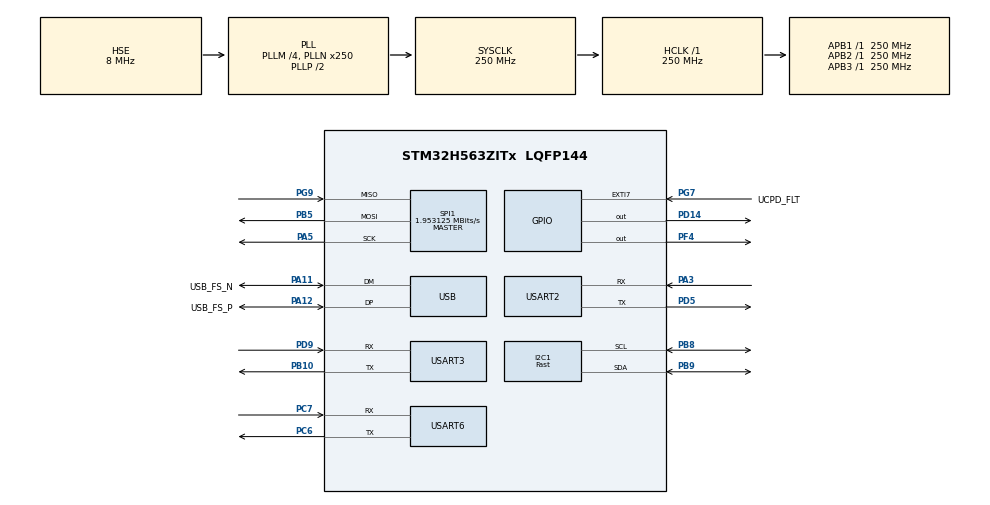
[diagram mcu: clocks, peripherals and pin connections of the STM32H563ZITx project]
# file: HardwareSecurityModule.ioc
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BOOTPATH.BootPathName=LEGACY
BOOTPATH.UserSelectedBootPath=LEGACY
CORTEX_M33_NS.userName=CORTEX_M33
HASH.Algorithm=HASH_ALGOSELECTION_SHA256
HASH.DataType=HASH_BYTE_SWAP
HASH.HASHMAC=Yes
HASH.KeySize=1
I2C1.I2C_Speed_Mode=I2C_Fast
I2C1.Timing=0x10C043E5
Mcu.Family=STM32H5
Mcu.Name=STM32H563ZITx
Mcu.Package=LQFP144
NUCLEO-H563ZI.BUTTON=1
NUCLEO-H563ZI.LD1=true
NUCLEO-H563ZI.LD2=true
NUCLEO-H563ZI.LD3=true
NUCLEO-H563ZI.VCP=true
NVIC.EXTI13_IRQn=true\:0\:0\:false\:false\:true\:false\:true\:true
NVIC.HASH_IRQn=true\:0\:0\:false\:false\:true\:true\:true\:true
NVIC.PriorityGroup=NVIC_PRIORITYGROUP_4
NVIC.USB_DRD_FS_IRQn=true\:0\:0\:false\:false\:true\:true\:true\:true
PA1.Signal=TAMP_IN5
PA11.GPIO_Label=USB_FS_N
PA11.Mode=Device
PA11.Signal=USB_DM
PA12.GPIO_Label=USB_FS_P
PA12.Mode=Device
PA12.Signal=USB_DP
PA13(JTMS/SWDIO).GPIO_Label=SWDIO
PA13(JTMS/SWDIO).Signal=DEBUG_JTMS-SWDIO
PA14(JTCK/SWCLK).GPIO_Label=SWCLK
PA14(JTCK/SWCLK).Signal=DEBUG_JTCK-SWCLK
PA15(JTDI).GPIO_Label=T_JTDI
PA15(JTDI).Signal=DEBUG_JTDI
PA2.GPIO_Label=RMII_MDIO
PA2.GPIO_Mode=GPIO_MODE_AF_PP
PA2.GPIO_PuPd=GPIO_NOPULL
PA2.GPIO_Speed=GPIO_SPEED_FREQ_LOW
PA2.Signal=ETH_MDIO
PA3.Mode=Asynchronous
PA3.Signal=USART2_RX
PA4.GPIO_Label=VBUS_SENSE
PA4.Signal=ADCx_INP18
PA5.Mode=Full_Duplex_Master
PA5.Signal=SPI1_SCK
PA7.GPIO_Label=RMII_CRS_DV
PA7.GPIO_Mode=GPIO_MODE_AF_PP
PA7.GPIO_PuPd=GPIO_NOPULL
PA7.GPIO_Speed=GPIO_SPEED_FREQ_LOW
PA7.Signal=ETH_CRS_DV
PA9.GPIO_Label=UCDP_DBn
PA9.Signal=UCPD1_DB1
PB10.Mode=Asynchronous
PB10.Signal=USART3_TX
PB13.GPIO_Label=UCPD_CC1
PB13.Signal=UCPD1_CC1
PB14.GPIO_Label=UCPD_CC2
PB14.Signal=UCPD1_CC2
PB15.GPIO_Label=RMII_TXD1
PB15.GPIO_Mode=GPIO_MODE_AF_PP
PB15.GPIO_PuPd=GPIO_NOPULL
PB15.GPIO_Speed=GPIO_SPEED_FREQ_LOW
PB15.Signal=ETH_TXD1
PB3(JTDO/TRACESWO).GPIO_Label=SWO
PB3(JTDO/TRACESWO).Signal=DEBUG_JTDO-SWO
PB5.Mode=Full_Duplex_Master
PB5.Signal=SPI1_MOSI
PB6.GPIO_Label=ARD_D1_TX
PB6.Signal=LPUART1_TX
PB7.GPIO_Label=ARD_D0_RX
PB7.Signal=LPUART1_RX
PB8.Mode=I2C
PB8.Signal=I2C1_SCL
PB9.Mode=I2C
PB9.Signal=I2C1_SDA
PC1.GPIO_Label=RMII_MDC
PC1.GPIO_Mode=GPIO_MODE_AF_PP
PC1.GPIO_PuPd=GPIO_NOPULL
PC1.GPIO_Speed=GPIO_SPEED_FREQ_LOW
PC1.Signal=ETH_MDC
PC14-OSC32_IN(OSC32_IN).Mode=LSE-External-Oscillator
PC14-OSC32_IN(OSC32_IN).Signal=RCC_OSC32_IN
PC15-OSC32_OUT(OSC32_OUT).Mode=LSE-External-Oscillator
PC15-OSC32_OUT(OSC32_OUT).Signal=RCC_OSC32_OUT
PC4.GPIO_Label=RMII_RXD0
PC4.GPIO_Mode=GPIO_MODE_AF_PP
PC4.GPIO_PuPd=GPIO_NOPULL
PC4.GPIO_Speed=GPIO_SPEED_FREQ_LOW
PC4.Signal=ETH_RXD0
PC5.GPIO_Label=RMII_RXD1
PC5.GPIO_Mode=GPIO_MODE_AF_PP
PC5.GPIO_PuPd=GPIO_NOPULL
PC5.GPIO_Speed=GPIO_SPEED_FREQ_LOW
PC5.Signal=ETH_RXD1
PC6.Mode=Asynchronous
PC6.Signal=USART6_TX
PC7.Mode=Asynchronous
PC7.Signal=USART6_RX
PD14.Signal=GPIO_Output
PD5.Mode=Asynchronous
PD5.Signal=USART2_TX
PD9.Mode=Asynchronous
PD9.Signal=USART3_RX
PE2.GPIO_Label=TRACE_CK
PE2.Signal=DEBUG_TRACECLK
PE3.GPIO_Label=TRACE_D0
PE3.Signal=DEBUG_TRACED0
PE4.GPIO_Label=TRACE_D1
PE4.Signal=DEBUG_TRACED1
PE5.GPIO_Label=TRACE_D2
PE5.Signal=DEBUG_TRACED2
PE6.GPIO_Label=TRACE_D3
PE6.Signal=DEBUG_TRACED3
PF4.Signal=GPIO_Output
PG11.GPIO_Label=RMII_TXT_EN
PG11.GPIO_Mode=GPIO_MODE_AF_PP
PG11.GPIO_PuPd=GPIO_NOPULL
PG11.GPIO_Speed=GPIO_SPEED_FREQ_LOW
PG11.Signal=ETH_TX_EN
PG13.GPIO_Label=RMI_TXD0
PG13.GPIO_Mode=GPIO_MODE_AF_PP
PG13.GPIO_PuPd=GPIO_NOPULL
PG13.GPIO_Speed=GPIO_SPEED_FREQ_LOW
PG13.Signal=ETH_TXD0
PG7.GPIO_Label=UCPD_FLT
PG7.Signal=GPXTI7
PG9.Mode=Full_Duplex_Master
PG9.Signal=SPI1_MISO
PH0-OSC_IN(PH0).GPIO_Label=STLK_MCO
PH0-OSC_IN(PH0).Mode=HSE-External-Clock-Source
PH0-OSC_IN(PH0).Signal=RCC_OSC_IN
ProjectManager.HeapSize=0x300
ProjectManager.StackSize=0x500
ProjectManager.TargetToolchain=STM32CubeIDE
RCC.ADCFreq_Value=250000000
RCC.AHBFreq_Value=250000000
RCC.APB1Freq_Value=250000000
RCC.APB1TimFreq_Value=250000000
RCC.APB2Freq_Value=250000000
RCC.APB2TimFreq_Value=250000000
RCC.APB3Freq_Value=250000000
RCC.CSI_VALUE=4000000
RCC.CortexFreq_Value=250000000
RCC.EPOD_VALUE=8000000
RCC.HCLKFreq_Value=250000000
RCC.HSE_VALUE=8000000
RCC.HSI48_VALUE=48000000
RCC.HSIDiv=RCC_HSI_DIV1
RCC.HSI_VALUE=64000000
RCC.LSIRC_VALUE=32000
RCC.PLLM=4
RCC.PLLN=250
RCC.PLLSourceVirtual=RCC_PLL1_SOURCE_HSE
RCC.SYSCLKFreq_VALUE=250000000
RCC.SYSCLKSource=RCC_SYSCLKSOURCE_PLLCLK
RCC.USBFreq_Value=48000000
RCC.VCOOutputFreq_Value=500000000
SH.ADCx_INP18.0=ADC1_INP18
SPI1.BaudRatePrescaler=SPI_BAUDRATEPRESCALER_128
SPI1.CalculateBaudRate=1.953125 MBits/s
SPI1.DataSize=SPI_DATASIZE_8BIT
SPI1.Direction=SPI_DIRECTION_2LINES
SPI1.Mode=SPI_MODE_MASTER
SPI1.VirtualType=VM_MASTER
USART2.VirtualMode-Asynchronous=VM_ASYNC
USART6.VirtualMode-Asynchronous=VM_ASYNC
USB.VirtualMode=Device_Only
VP_BOOTPATH_VS_BOOTPATH.Mode=BP_Activate
VP_CORTEX_M33_NS_VS_Hclk.Mode=Hclk_Mode
VP_FLASH_SIG_Activate_FlashIP.Mode=Activate_FlashIP
VP_HASH_VS_HASH.Mode=HASH_Activate
VP_MEMORYMAP_VS_MEMORYMAP.Mode=CurAppReg
VP_NUCLEO-H563ZI_VS_BSP_COMMON.Mode=COMMON
VP_PWR_VS_DBSignals.Mode=DisableDeadBatterySignals
VP_PWR_VS_LPOM.Mode=PowerOptimisation
VP_PWR_VS_SECSignals.Mode=Security/Privilege
VP_RNG_VS_RNG.Mode=RNG_Activate
VP_RTC_VS_RTC_Activate.Mode=RTC_Enabled
VP_RTC_VS_RTC_Calendar.Mode=RTC_Calendar
board=NUCLEO-H563ZI

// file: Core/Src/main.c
/* USER CODE BEGIN Header */
/**
  ******************************************************************************
  * @file           : main.c
  * @brief          : Main program body
  ******************************************************************************
  * @attention
  *
  * Copyright (c) 2025 STMicroelectronics.
  * All rights reserved.
  *
  * This software is licensed under terms that can be found in the LICENSE file
  * in the root directory of this software component.
  * If no LICENSE file comes with this software, it is provided AS-IS.
  *
  ******************************************************************************
  */
/* USER CODE END Header */
#include "main.h"

/* USER CODE BEGIN Includes */
#include "usbd_core.h"
#include "usbd_cdc_if.h"

#include "stdbool.h"

#include "HSMManager.h"
#include "Logger.h"
/* USER CODE END Includes */

COM_InitTypeDef BspCOMInit;

HASH_HandleTypeDef hhash;
__ALIGN_BEGIN static const uint8_t pKeyHASH[1] __ALIGN_END = { 0x00 };

I2C_HandleTypeDef hi2c1;

RNG_HandleTypeDef hrng;

RTC_HandleTypeDef hrtc;

SPI_HandleTypeDef hspi1;

UART_HandleTypeDef huart2;
UART_HandleTypeDef huart6;

PCD_HandleTypeDef hpcd_USB_DRD_FS;

/* USER CODE BEGIN PV */
USBD_HandleTypeDef hUsbDeviceFS;
extern USBD_DescriptorsTypeDef Class_Desc;

/* USER CODE END PV */

void SystemClock_Config(void);
static void MX_GPIO_Init(void);
static void MX_USB_PCD_Init(void);
static void MX_USART2_UART_Init(void);
static void MX_I2C1_Init(void);
static void MX_SPI1_Init(void);
static void MX_USART6_UART_Init(void);
static void MX_RTC_Init(void);
static void MX_RNG_Init(void);
static void MX_HASH_Init(void);
static void MX_FLASH_Init(void);

int main(void)
{

  /* MCU Configuration--------------------------------------------------------*/

  /* Reset of all peripherals, Initializes the Flash interface and the Systick. */
  HAL_Init();

  /* Configure the system clock */
  SystemClock_Config();

  /* Initialize all configured peripherals */
  MX_GPIO_Init();
  MX_USB_PCD_Init();
  MX_USART2_UART_Init();
  MX_I2C1_Init();
  MX_SPI1_Init();
  MX_USART6_UART_Init();
  MX_RTC_Init();
  MX_RNG_Init();
  MX_HASH_Init();
  MX_FLASH_Init();
  /* USER CODE BEGIN 2 */
  while(hUsbDeviceFS.pClassData == NULL);
  /* USER CODE END 2 */

  /* Initialize leds */
  BSP_LED_Init(LED_GREEN);
  BSP_LED_Init(LED_YELLOW);
  BSP_LED_Init(LED_RED);

  /* Initialize USER push-button, will be used to trigger an interrupt each time it's pressed.*/
  BSP_PB_Init(BUTTON_USER, BUTTON_MODE_EXTI);

  /* Initialize COM1 port (115200, 8 bits (7-bit data + 1 stop bit), no parity */
  BspCOMInit.BaudRate   = 115200;
  BspCOMInit.WordLength = COM_WORDLENGTH_8B;
  BspCOMInit.StopBits   = COM_STOPBITS_1;
  BspCOMInit.Parity     = COM_PARITY_NONE;
  BspCOMInit.HwFlowCtl  = COM_HWCONTROL_NONE;
  if (BSP_COM_Init(COM1, &BspCOMInit) != BSP_ERROR_NONE)
  {
    Error_Handler();
  }

  /* Infinite loop */
  /* USER CODE BEGIN WHILE */
  HSMManager_Init();

  HSMManager_ProcessCommand();

  while (1)
  {
    /* USER CODE END WHILE */

  }
}

void SystemClock_Config(void)
{
  RCC_OscInitTypeDef RCC_OscInitStruct = {0};
  RCC_ClkInitTypeDef RCC_ClkInitStruct = {0};

  /** Configure the main internal regulator output voltage
  */
  __HAL_PWR_VOLTAGESCALING_CONFIG(PWR_REGULATOR_VOLTAGE_SCALE0);

  while(!__HAL_PWR_GET_FLAG(PWR_FLAG_VOSRDY)) {}

  /** Initializes the RCC Oscillators according to the specified parameters
  * in the RCC_OscInitTypeDef structure.
  */
  RCC_OscInitStruct.OscillatorType = RCC_OSCILLATORTYPE_HSI48|RCC_OSCILLATORTYPE_LSI
                              |RCC_OSCILLATORTYPE_HSE;
  RCC_OscInitStruct.HSEState = RCC_HSE_BYPASS;
  RCC_OscInitStruct.LSIState = RCC_LSI_ON;
  RCC_OscInitStruct.HSI48State = RCC_HSI48_ON;
  RCC_OscInitStruct.PLL.PLLState = RCC_PLL_ON;
  RCC_OscInitStruct.PLL.PLLSource = RCC_PLL1_SOURCE_HSE;
  RCC_OscInitStruct.PLL.PLLM = 4;
  RCC_OscInitStruct.PLL.PLLN = 250;
  RCC_OscInitStruct.PLL.PLLP = 2;
  RCC_OscInitStruct.PLL.PLLQ = 2;
  RCC_OscInitStruct.PLL.PLLR = 2;
  RCC_OscInitStruct.PLL.PLLRGE = RCC_PLL1_VCIRANGE_1;
  RCC_OscInitStruct.PLL.PLLVCOSEL = RCC_PLL1_VCORANGE_WIDE;
  RCC_OscInitStruct.PLL.PLLFRACN = 0;
  if (HAL_RCC_OscConfig(&RCC_OscInitStruct) != HAL_OK)
  {
    Error_Handler();
  }

  /** Initializes the CPU, AHB and APB buses clocks
  */
  RCC_ClkInitStruct.ClockType = RCC_CLOCKTYPE_HCLK|RCC_CLOCKTYPE_SYSCLK
                              |RCC_CLOCKTYPE_PCLK1|RCC_CLOCKTYPE_PCLK2
                              |RCC_CLOCKTYPE_PCLK3;
  RCC_ClkInitStruct.SYSCLKSource = RCC_SYSCLKSOURCE_PLLCLK;
  RCC_ClkInitStruct.AHBCLKDivider = RCC_SYSCLK_DIV1;
  RCC_ClkInitStruct.APB1CLKDivider = RCC_HCLK_DIV1;
  RCC_ClkInitStruct.APB2CLKDivider = RCC_HCLK_DIV1;
  RCC_ClkInitStruct.APB3CLKDivider = RCC_HCLK_DIV1;

  if (HAL_RCC_ClockConfig(&RCC_ClkInitStruct, FLASH_LATENCY_5) != HAL_OK)
  {
    Error_Handler();
  }

  /** Configure the programming delay
  */
  __HAL_FLASH_SET_PROGRAM_DELAY(FLASH_PROGRAMMING_DELAY_2);
}

static void MX_FLASH_Init(void)
{

  if (HAL_FLASH_Unlock() != HAL_OK)
  {
    Error_Handler();
  }
  if (HAL_FLASH_Lock() != HAL_OK)
  {
    Error_Handler();
  }

}

static void MX_HASH_Init(void)
{

  hhash.Instance = HASH;
  hhash.Init.DataType = HASH_BYTE_SWAP;
  hhash.Init.KeySize = 1;
  hhash.Init.pKey = (uint8_t *)pKeyHASH;
  hhash.Init.Algorithm = HASH_ALGOSELECTION_SHA256;
  if (HAL_HASH_Init(&hhash) != HAL_OK)
  {
    Error_Handler();
  }

}

static void MX_I2C1_Init(void)
{

  hi2c1.Instance = I2C1;
  hi2c1.Init.Timing = 0x10C043E5;
  hi2c1.Init.OwnAddress1 = 0;
  hi2c1.Init.AddressingMode = I2C_ADDRESSINGMODE_7BIT;
  hi2c1.Init.DualAddressMode = I2C_DUALADDRESS_DISABLE;
  hi2c1.Init.OwnAddress2 = 0;
  hi2c1.Init.OwnAddress2Masks = I2C_OA2_NOMASK;
  hi2c1.Init.GeneralCallMode = I2C_GENERALCALL_DISABLE;
  hi2c1.Init.NoStretchMode = I2C_NOSTRETCH_DISABLE;
  if (HAL_I2C_Init(&hi2c1) != HAL_OK)
  {
    Error_Handler();
  }

  /** Configure Analogue filter
  */
  if (HAL_I2CEx_ConfigAnalogFilter(&hi2c1, I2C_ANALOGFILTER_ENABLE) != HAL_OK)
  {
    Error_Handler();
  }

  /** Configure Digital filter
  */
  if (HAL_I2CEx_ConfigDigitalFilter(&hi2c1, 0) != HAL_OK)
  {
    Error_Handler();
  }

}

static void MX_RNG_Init(void)
{

  hrng.Instance = RNG;
  hrng.Init.ClockErrorDetection = RNG_CED_ENABLE;
  if (HAL_RNG_Init(&hrng) != HAL_OK)
  {
    Error_Handler();
  }

}

static void MX_RTC_Init(void)
{

  RTC_PrivilegeStateTypeDef privilegeState = {0};
  RTC_TimeTypeDef sTime = {0};
  RTC_DateTypeDef sDate = {0};

  /** Initialize RTC Only
  */
  hrtc.Instance = RTC;
  hrtc.Init.HourFormat = RTC_HOURFORMAT_24;
  hrtc.Init.AsynchPrediv = 127;
  hrtc.Init.SynchPrediv = 255;
  hrtc.Init.OutPut = RTC_OUTPUT_DISABLE;
  hrtc.Init.OutPutRemap = RTC_OUTPUT_REMAP_NONE;
  hrtc.Init.OutPutPolarity = RTC_OUTPUT_POLARITY_HIGH;
  hrtc.Init.OutPutType = RTC_OUTPUT_TYPE_OPENDRAIN;
  hrtc.Init.OutPutPullUp = RTC_OUTPUT_PULLUP_NONE;
  hrtc.Init.BinMode = RTC_BINARY_NONE;
  if (HAL_RTC_Init(&hrtc) != HAL_OK)
  {
    Error_Handler();
  }
  privilegeState.rtcPrivilegeFull = RTC_PRIVILEGE_FULL_NO;
  privilegeState.backupRegisterPrivZone = RTC_PRIVILEGE_BKUP_ZONE_NONE;
  privilegeState.backupRegisterStartZone2 = RTC_BKP_DR0;
  privilegeState.backupRegisterStartZone3 = RTC_BKP_DR0;
  if (HAL_RTCEx_PrivilegeModeSet(&hrtc, &privilegeState) != HAL_OK)
  {
    Error_Handler();
  }

  /** Initialize RTC and set the Time and Date
  */
  sTime.Hours = 0x0;
  sTime.Minutes = 0x0;
  sTime.Seconds = 0x0;
  sTime.DayLightSaving = RTC_DAYLIGHTSAVING_NONE;
  sTime.StoreOperation = RTC_STOREOPERATION_RESET;
  if (HAL_RTC_SetTime(&hrtc, &sTime, RTC_FORMAT_BCD) != HAL_OK)
  {
    Error_Handler();
  }
  sDate.WeekDay = RTC_WEEKDAY_MONDAY;
  sDate.Month = RTC_MONTH_JANUARY;
  sDate.Date = 0x1;
  sDate.Year = 0x0;

  if (HAL_RTC_SetDate(&hrtc, &sDate, RTC_FORMAT_BCD) != HAL_OK)
  {
    Error_Handler();
  }

}

static void MX_SPI1_Init(void)
{

  /* SPI1 parameter configuration*/
  hspi1.Instance = SPI1;
  hspi1.Init.Mode = SPI_MODE_MASTER;
  hspi1.Init.Direction = SPI_DIRECTION_2LINES;
  hspi1.Init.DataSize = SPI_DATASIZE_8BIT;
  hspi1.Init.CLKPolarity = SPI_POLARITY_LOW;
  hspi1.Init.CLKPhase = SPI_PHASE_1EDGE;
  hspi1.Init.NSS = SPI_NSS_SOFT;
  hspi1.Init.BaudRatePrescaler = SPI_BAUDRATEPRESCALER_128;
  hspi1.Init.FirstBit = SPI_FIRSTBIT_MSB;
  hspi1.Init.TIMode = SPI_TIMODE_DISABLE;
  hspi1.Init.CRCCalculation = SPI_CRCCALCULATION_DISABLE;
  hspi1.Init.CRCPolynomial = 0x7;
  hspi1.Init.NSSPMode = SPI_NSS_PULSE_ENABLE;
  hspi1.Init.NSSPolarity = SPI_NSS_POLARITY_LOW;
  hspi1.Init.FifoThreshold = SPI_FIFO_THRESHOLD_01DATA;
  hspi1.Init.MasterSSIdleness = SPI_MASTER_SS_IDLENESS_00CYCLE;
  hspi1.Init.MasterInterDataIdleness = SPI_MASTER_INTERDATA_IDLENESS_00CYCLE;
  hspi1.Init.MasterReceiverAutoSusp = SPI_MASTER_RX_AUTOSUSP_DISABLE;
  hspi1.Init.MasterKeepIOState = SPI_MASTER_KEEP_IO_STATE_DISABLE;
  hspi1.Init.IOSwap = SPI_IO_SWAP_DISABLE;
  hspi1.Init.ReadyMasterManagement = SPI_RDY_MASTER_MANAGEMENT_INTERNALLY;
  hspi1.Init.ReadyPolarity = SPI_RDY_POLARITY_HIGH;
  if (HAL_SPI_Init(&hspi1) != HAL_OK)
  {
    Error_Handler();
  }

}

static void MX_USART2_UART_Init(void)
{

  huart2.Instance = USART2;
  huart2.Init.BaudRate = 115200;
  huart2.Init.WordLength = UART_WORDLENGTH_8B;
  huart2.Init.StopBits = UART_STOPBITS_1;
  huart2.Init.Parity = UART_PARITY_NONE;
  huart2.Init.Mode = UART_MODE_TX_RX;
  huart2.Init.HwFlowCtl = UART_HWCONTROL_NONE;
  huart2.Init.OverSampling = UART_OVERSAMPLING_16;
  huart2.Init.OneBitSampling = UART_ONE_BIT_SAMPLE_DISABLE;
  huart2.Init.ClockPrescaler = UART_PRESCALER_DIV1;
  huart2.AdvancedInit.AdvFeatureInit = UART_ADVFEATURE_NO_INIT;
  if (HAL_UART_Init(&huart2) != HAL_OK)
  {
    Error_Handler();
  }
  if (HAL_UARTEx_SetTxFifoThreshold(&huart2, UART_TXFIFO_THRESHOLD_1_8) != HAL_OK)
  {
    Error_Handler();
  }
  if (HAL_UARTEx_SetRxFifoThreshold(&huart2, UART_RXFIFO_THRESHOLD_1_8) != HAL_OK)
  {
    Error_Handler();
  }
  if (HAL_UARTEx_DisableFifoMode(&huart2) != HAL_OK)
  {
    Error_Handler();
  }

}

static void MX_USART6_UART_Init(void)
{

  huart6.Instance = USART6;
  huart6.Init.BaudRate = 115200;
  huart6.Init.WordLength = UART_WORDLENGTH_8B;
  huart6.Init.StopBits = UART_STOPBITS_1;
  huart6.Init.Parity = UART_PARITY_NONE;
  huart6.Init.Mode = UART_MODE_TX_RX;
  huart6.Init.HwFlowCtl = UART_HWCONTROL_NONE;
  huart6.Init.OverSampling = UART_OVERSAMPLING_16;
  huart6.Init.OneBitSampling = UART_ONE_BIT_SAMPLE_DISABLE;
  huart6.Init.ClockPrescaler = UART_PRESCALER_DIV1;
  huart6.AdvancedInit.AdvFeatureInit = UART_ADVFEATURE_NO_INIT;
  if (HAL_UART_Init(&huart6) != HAL_OK)
  {
    Error_Handler();
  }
  if (HAL_UARTEx_SetTxFifoThreshold(&huart6, UART_TXFIFO_THRESHOLD_1_8) != HAL_OK)
  {
    Error_Handler();
  }
  if (HAL_UARTEx_SetRxFifoThreshold(&huart6, UART_RXFIFO_THRESHOLD_1_8) != HAL_OK)
  {
    Error_Handler();
  }
  if (HAL_UARTEx_DisableFifoMode(&huart6) != HAL_OK)
  {
    Error_Handler();
  }

}

static void MX_USB_PCD_Init(void)
{

  /* USER CODE BEGIN USB_Init 0 */
  hpcd_USB_DRD_FS.pData = &hUsbDeviceFS;
  /* USER CODE END USB_Init 0 */

  hpcd_USB_DRD_FS.Instance = USB_DRD_FS;
  hpcd_USB_DRD_FS.Init.dev_endpoints = 8;
  hpcd_USB_DRD_FS.Init.speed = USBD_FS_SPEED;
  hpcd_USB_DRD_FS.Init.phy_itface = PCD_PHY_EMBEDDED;
  hpcd_USB_DRD_FS.Init.Sof_enable = DISABLE;
  hpcd_USB_DRD_FS.Init.low_power_enable = DISABLE;
  hpcd_USB_DRD_FS.Init.lpm_enable = DISABLE;
  hpcd_USB_DRD_FS.Init.battery_charging_enable = DISABLE;
  hpcd_USB_DRD_FS.Init.vbus_sensing_enable = DISABLE;
  hpcd_USB_DRD_FS.Init.bulk_doublebuffer_enable = DISABLE;
  hpcd_USB_DRD_FS.Init.iso_singlebuffer_enable = DISABLE;
  if (HAL_PCD_Init(&hpcd_USB_DRD_FS) != HAL_OK)
  {
    Error_Handler();
  }
  /* USER CODE BEGIN USB_Init 2 */
  if(USBD_Init(&hUsbDeviceFS, &Class_Desc, 0) != USBD_OK)
        Error_Handler();

  if (USBD_RegisterClass(&hUsbDeviceFS, &USBD_CDC) != USBD_OK)
        Error_Handler();

  if(USBD_CDC_RegisterInterface(&hUsbDeviceFS, &USBD_CDC_Template_fops) != USBD_OK)
        Error_Handler();

  if(USBD_Start(&hUsbDeviceFS) != USBD_OK)
        Error_Handler();
  /* USER CODE END USB_Init 2 */

}

static void MX_GPIO_Init(void)
{
  GPIO_InitTypeDef GPIO_InitStruct = {0};

  /* GPIO Ports Clock Enable */
  __HAL_RCC_GPIOE_CLK_ENABLE();
  __HAL_RCC_GPIOC_CLK_ENABLE();
  __HAL_RCC_GPIOH_CLK_ENABLE();
  __HAL_RCC_GPIOA_CLK_ENABLE();
  __HAL_RCC_GPIOB_CLK_ENABLE();
  __HAL_RCC_GPIOD_CLK_ENABLE();
  __HAL_RCC_GPIOG_CLK_ENABLE();

  /*Configure GPIO pin Output Level */
  HAL_GPIO_WritePin(GPIOD, GPIO_PIN_14, GPIO_PIN_RESET);

  /*Configure GPIO pins : RMII_MDC_Pin RMII_RXD0_Pin RMII_RXD1_Pin */
  GPIO_InitStruct.Pin = RMII_MDC_Pin|RMII_RXD0_Pin|RMII_RXD1_Pin;
  GPIO_InitStruct.Mode = GPIO_MODE_AF_PP;
  GPIO_InitStruct.Pull = GPIO_NOPULL;
  GPIO_InitStruct.Speed = GPIO_SPEED_FREQ_HIGH;
  GPIO_InitStruct.Alternate = GPIO_AF11_ETH;
  HAL_GPIO_Init(GPIOC, &GPIO_InitStruct);

  /*Configure GPIO pins : RMII_MDIO_Pin RMII_CRS_DV_Pin */
  GPIO_InitStruct.Pin = RMII_MDIO_Pin|RMII_CRS_DV_Pin;
  GPIO_InitStruct.Mode = GPIO_MODE_AF_PP;
  GPIO_InitStruct.Pull = GPIO_NOPULL;
  GPIO_InitStruct.Speed = GPIO_SPEED_FREQ_HIGH;
  GPIO_InitStruct.Alternate = GPIO_AF11_ETH;
  HAL_GPIO_Init(GPIOA, &GPIO_InitStruct);

  /*Configure GPIO pin : VBUS_SENSE_Pin */
  GPIO_InitStruct.Pin = VBUS_SENSE_Pin;
  GPIO_InitStruct.Mode = GPIO_MODE_ANALOG;
  GPIO_InitStruct.Pull = GPIO_NOPULL;
  HAL_GPIO_Init(VBUS_SENSE_GPIO_Port, &GPIO_InitStruct);

  /*Configure GPIO pin : PB10 */
  GPIO_InitStruct.Pin = GPIO_PIN_10;
  GPIO_InitStruct.Mode = GPIO_MODE_AF_PP;
  GPIO_InitStruct.Pull = GPIO_NOPULL;
  GPIO_InitStruct.Speed = GPIO_SPEED_FREQ_LOW;
  GPIO_InitStruct.Alternate = GPIO_AF7_USART3;
  HAL_GPIO_Init(GPIOB, &GPIO_InitStruct);

  /*Configure GPIO pins : UCPD_CC1_Pin UCPD_CC2_Pin */
  GPIO_InitStruct.Pin = UCPD_CC1_Pin|UCPD_CC2_Pin;
  GPIO_InitStruct.Mode = GPIO_MODE_ANALOG;
  GPIO_InitStruct.Pull = GPIO_NOPULL;
  HAL_GPIO_Init(GPIOB, &GPIO_InitStruct);

  /*Configure GPIO pin : RMII_TXD1_Pin */
  GPIO_InitStruct.Pin = RMII_TXD1_Pin;
  GPIO_InitStruct.Mode = GPIO_MODE_AF_PP;
  GPIO_InitStruct.Pull = GPIO_NOPULL;
  GPIO_InitStruct.Speed = GPIO_SPEED_FREQ_HIGH;
  GPIO_InitStruct.Alternate = GPIO_AF11_ETH;
  HAL_GPIO_Init(RMII_TXD1_GPIO_Port, &GPIO_InitStruct);

  /*Configure GPIO pin : PD14 */
  GPIO_InitStruct.Pin = GPIO_PIN_14;
  GPIO_InitStruct.Mode = GPIO_MODE_OUTPUT_PP;
  GPIO_InitStruct.Pull = GPIO_NOPULL;
  GPIO_InitStruct.Speed = GPIO_SPEED_FREQ_LOW;
  HAL_GPIO_Init(GPIOD, &GPIO_InitStruct);

  /*Configure GPIO pin : UCPD_FLT_Pin */
  GPIO_InitStruct.Pin = UCPD_FLT_Pin;
  GPIO_InitStruct.Mode = GPIO_MODE_IT_RISING;
  GPIO_InitStruct.Pull = GPIO_NOPULL;
  HAL_GPIO_Init(UCPD_FLT_GPIO_Port, &GPIO_InitStruct);

  /*Configure GPIO pins : RMII_TXT_EN_Pin RMI_TXD0_Pin */
  GPIO_InitStruct.Pin = RMII_TXT_EN_Pin|RMI_TXD0_Pin;
  GPIO_InitStruct.Mode = GPIO_MODE_AF_PP;
  GPIO_InitStruct.Pull = GPIO_NOPULL;
  GPIO_InitStruct.Speed = GPIO_SPEED_FREQ_HIGH;
  GPIO_InitStruct.Alternate = GPIO_AF11_ETH;
  HAL_GPIO_Init(GPIOG, &GPIO_InitStruct);

  /*Configure GPIO pins : ARD_D1_TX_Pin ARD_D0_RX_Pin */
  GPIO_InitStruct.Pin = ARD_D1_TX_Pin|ARD_D0_RX_Pin;
  GPIO_InitStruct.Mode = GPIO_MODE_AF_PP;
  GPIO_InitStruct.Pull = GPIO_NOPULL;
  GPIO_InitStruct.Speed = GPIO_SPEED_FREQ_LOW;
  GPIO_InitStruct.Alternate = GPIO_AF8_LPUART1;
  HAL_GPIO_Init(GPIOB, &GPIO_InitStruct);

}

void Error_Handler(void)
{
  __disable_irq();
  while (1)
  {
  }
}
